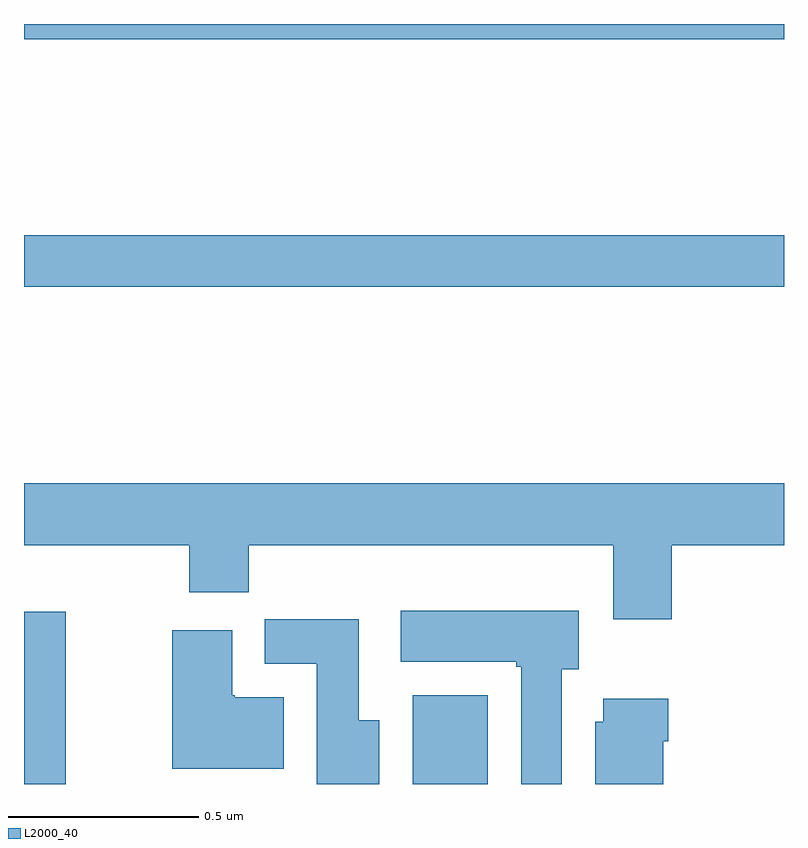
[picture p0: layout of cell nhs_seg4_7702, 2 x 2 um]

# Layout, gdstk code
import gdstk
lib = gdstk.Library(unit=1e-6, precision=1e-09)
def R(c, l, rs):  # rectangles x0, y0, x1, y1
    for r in rs: c.add(gdstk.rectangle(r[:2], r[2:], *l))
def P(c, l, *ps):  # polygons
    for p in ps: c.add(gdstk.Polygon(p, *l))
L2000_40 = (2000, 40)

nhs_seg4_7702 = lib.new_cell('nhs_seg4_7702')
R(nhs_seg4_7702, L2000_40, [(206,754.9,206.11,755.353), (207.023,754.9,207.22,755.134), (206,756.208,208,756.344), (206,756.86,208,756.9)])
P(nhs_seg4_7702, L2000_40, [(207.704,755.528),(208,755.528),(208,755.692),(206,755.692),(206,755.528),(206.435,755.528),(206.435,755.404),(206.591,755.404),(206.591,755.528),(207.551,755.528),(207.551,755.334),(207.704,755.334)],
  [(207.415,755.202),(207.46,755.202),(207.46,755.356),(206.991,755.356),(206.991,755.222),(207.295,755.222),(207.295,755.209),(207.308,755.209),(207.308,754.9),(207.415,754.9)],
  [(206.935,755.068),(206.881,755.068),(206.881,755.334),(206.633,755.334),(206.633,755.216),(206.771,755.216),(206.771,754.9),(206.935,754.9)],
  [(206.683,755.128),(206.554,755.128),(206.554,755.134),(206.548,755.134),(206.548,755.305),(206.39,755.305),(206.39,754.94),(206.683,754.94)],
  [(207.682,755.012),(207.695,755.012),(207.695,755.125),(207.524,755.125),(207.524,755.064),(207.503,755.064),(207.503,754.9),(207.682,754.9)])

lib.write_gds('nhs_seg4_7702.gds')
